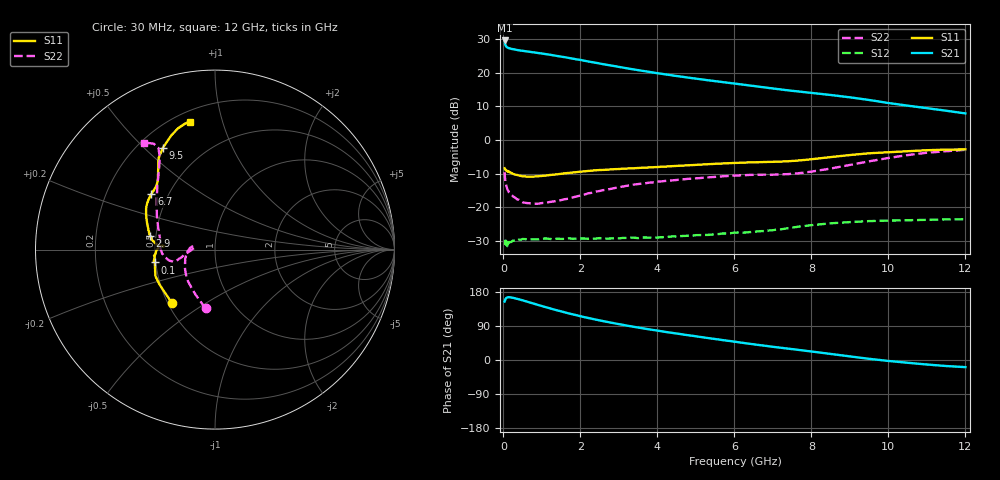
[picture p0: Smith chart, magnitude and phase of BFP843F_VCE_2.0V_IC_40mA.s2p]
! Infineon Technologies  Discrete & RF Semiconductors
! BFP843F
! VCE =  2.0 V,  IC =  40 mA
! Common Emitter S-Parameters:  Aug 2013
# GHz  S  MA  R  50
!  f  S11  S21  S12  S22
! GHz  MAG  ANG  MAG  ANG  MAG  ANG  MAG  ANG
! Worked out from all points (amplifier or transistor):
!   103 points, 30 MHz to 12 GHz, reference 50 ohm
!   highest |S21| = 29.6 dB at 30 MHz (marker M1)
!   |S21| within 3 dB of that: start of sweep to 444.9 MHz
!   unconditionally stable (mu >= 1): 91.57 MHz to end of sweep
!   at 400 MHz: K = 1.02, MAG = 27.3 dB, |S12| = -29.6 dB
!   at 3.7 GHz: K = 1.27, MAG = 21.6 dB, |S12| = -29.0 dB
!   at 12 GHz: K = 1.15, MAG = 13.4 dB, |S12| = -23.6 dB
!   S11 on the Smith chart (normalised r, x): 30 MHz: 0.53, -0.36; 100 MHz: 0.49, -0.08; 2.9 GHz: 0.46, +0.08; 6.7 GHz: 0.40, +0.32; 9.5 GHz: 0.30, +0.57; 12 GHz: 0.26, +0.79
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0.03  0.3816 -129.0  30.37 154.4  0.0277 23.6  0.3323 -99.1
0.04  0.3665 -141.9  27.68 156.8  0.0279 25.0  0.2726 -113.6
0.05  0.3651 -148.6  26.13 160.5  0.032 14.6  0.2469 -122.9
0.07  0.354 -160.6  24.75 163.3  0.0316 11.2  0.2142 -138.9
0.1  0.3423 -167.9  23.89 165.1  0.0264 11.0  0.1871 -153.1
0.13  0.339 -172.9  23.47 165.8  0.0293 10.0  0.1744 -162.7
0.2  0.3257 -179.7  22.79 165.1  0.0304 11.1  0.1558 -175.5
0.9  0.2895 176.5  19.78 145.2  0.0332 5.6  0.113 172.6
1.2  0.3019 176.7  18.66 136.6  0.0338 6.6  0.1199 176.8
1.6  0.3206 175.3  17.09 125.6  0.034 6.6  0.1319 -178.4
2.1  0.3424 172.7  15.18 113.1  0.0344 9.4  0.1541 -173.6
2.5  0.3584 170.3  13.78 104.4  0.0348 10.2  0.1749 -170.1
2.9  0.3695 168.1  12.56 96.5  0.0345 11.5  0.1939 -167.0
3.4  0.3814 164.7  11.22 87.4  0.0353 14.9  0.2186 -164.5
4.1  0.4011 159.9  9.709 75.9  0.0359 17.9  0.243 -164.4
5.1  0.431 152.8  8.064 61.0  0.0386 22.3  0.2717 -169.2
6.1  0.4588 145.1  6.826 46.9  0.0422 24.6  0.2977 -177.5
6.7  0.4704 138.8  6.166 38.8  0.0442 27.2  0.3051 176.6
8.5  0.5582 124.5  4.687 16.0  0.0578 26.6  0.3773 149.2
9.5  0.6364 117.2  3.952 3.1  0.0623 22.6  0.4833 131.6
10.5  0.6829 110.7  3.255 -7.3  0.0642 19.5  0.5982 120.9
12  0.7271 101.1  2.494 -18.8  0.0664 19.0  0.7166 123.7
